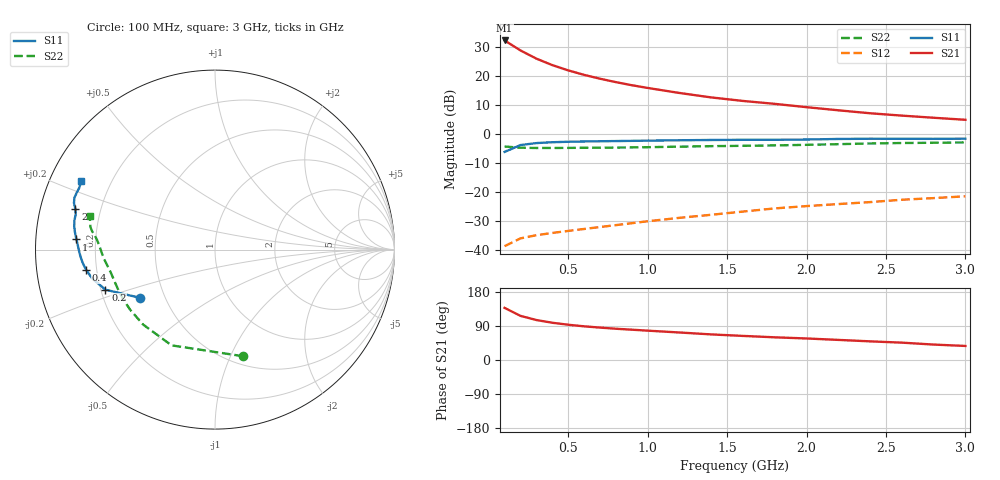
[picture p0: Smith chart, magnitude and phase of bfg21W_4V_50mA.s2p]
! Filename: 450bfg21.001
! Title: BFG21W
! Bias: Vce=4V; Ic=50mA
! Company: Philips Semiconductors NL
! User: Quality&Reliability T&D
! Measure time: 10 Nov 1999 / 11:45:17
#  MHz  S  MA  R 50
! Freq  S11  S21  S12  S22  :
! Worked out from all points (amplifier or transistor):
!   20 points, 100 MHz to 3 GHz, reference 50 ohm
!   highest |S21| = 32.3 dB at 100 MHz (marker M1)
!   |S21| within 3 dB of that: start of sweep to 187.2 MHz
!   unconditionally stable (mu >= 1): 849.2 MHz to end of sweep
!   at 400 MHz: K = 0.71, MSG = 28.9 dB, |S12| = -34.0 dB
!   at 1.2 GHz: K = 1.07, MAG = 19.9 dB, |S12| = -28.8 dB
!   at 3 GHz: K = 1.05, MAG = 11.8 dB, |S12| = -21.4 dB
!   S11 on the Smith chart (normalised r, x): 100 MHz: 0.36, -0.26; 200 MHz: 0.22, -0.17; 400 MHz: 0.16, -0.08; 1 GHz: 0.13, +0.04; 2 GHz: 0.11, +0.14; 3 GHz: 0.09, +0.24
100  0.4954 -147.1  41.06 137.5  0.01182 45.9  0.6141 -75.3
200  0.6501 -159.9  27.63 116.5  0.0161 40.2  0.5858 -114.4
300  0.703 -166.8  19.98 105.5  0.01825 40.5  0.5787 -133.8
400  0.727 -171.1  15.46 98.3  0.01997 42.6  0.5794 -144.8
500  0.7409 -174.3  12.55 93.1  0.02163 45.4  0.5813 -151.9
600  0.7497 -176.8  10.5 88.9  0.02337 48.3  0.5835 -156.9
700  0.7561 -178.9  9.019 85.5  0.02524 51.4  0.5855 -160.6
800  0.7616 179.2  7.871 82.5  0.02722 54.1  0.5882 -163.7
900  0.7675 177.4  6.971 80.0  0.02937 56.9  0.5923 -166.4
1000  0.7741 175.8  6.254 77.4  0.03172 58.8  0.5974 -168.8
1200  0.7863 172.9  5.124 72.6  0.03634 62.1  0.6103 -172.6
1400  0.795 170.6  4.295 67.5  0.04101 64.2  0.6224 -175.7
1600  0.8 168.3  3.735 63.6  0.04659 66.1  0.6311 -178.3
1800  0.8005 165.8  3.327 59.9  0.05282 67.5  0.6414 178.9
2000  0.8099 163.8  2.918 56.8  0.05788 68.9  0.6557 175.9
2200  0.8276 161.7  2.578 53.0  0.06268 69.5  0.6734 173.4
2400  0.8349 159.8  2.292 49.2  0.06779 69.3  0.6919 171.5
2600  0.8334 157.9  2.088 45.8  0.07441 68.9  0.705 169.8
2800  0.8312 155.5  1.919 40.7  0.07942 67.6  0.7121 167.7
3000  0.8364 153.0  1.769 37.1  0.08533 67.0  0.7216 165.1
